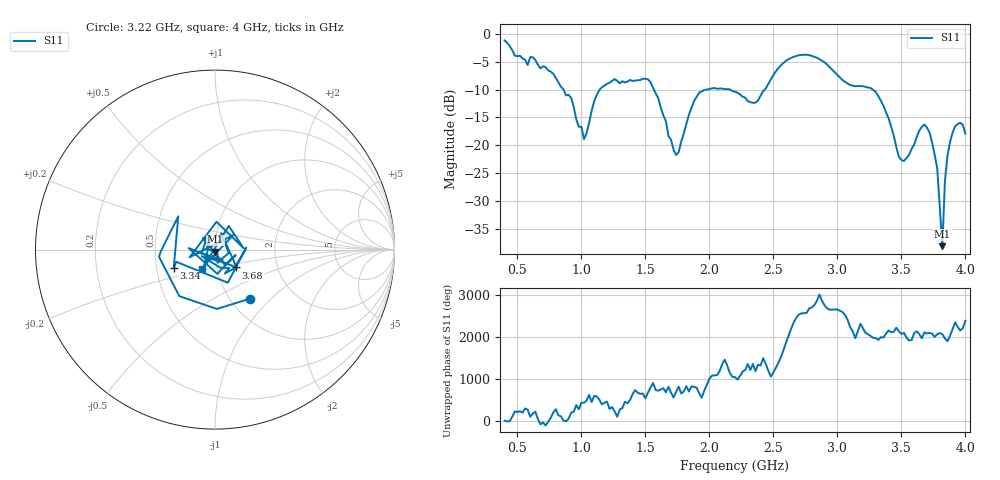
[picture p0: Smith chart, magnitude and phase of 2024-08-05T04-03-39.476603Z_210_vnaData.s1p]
!Created with skrf (http://scikit-rf.org).
# Hz S RI R 50.0
!freq ReS11 ImS11
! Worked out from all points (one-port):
!   181 points, 400 MHz to 4 GHz, reference 50 ohm
!   lowest |S11| = -38.1 dB at 3.82 GHz (marker M1), VSWR 1.03, Z = 50.1 - j1.24 ohm
!   |S11| at or under -10 dB: 861.1 MHz to 1.143 GHz (281.7 MHz wide, 28.1 % of centre); 1.567 GHz to 1.975 GHz (408.3 MHz wide, 23.1 % of centre); 3.277 GHz to end of sweep (the widest 3 of 4)
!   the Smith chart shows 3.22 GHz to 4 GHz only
!   S11 on the Smith chart (normalised r, x): 3.22 GHz: 1.22, -0.76; 3.34 GHz: 0.62, -0.13; 3.68 GHz: 1.24, -0.25; 4 GHz: 0.85, -0.18
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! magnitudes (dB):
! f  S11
! 400 MHz  -1.2
! 860 MHz  -9.9
! 920 MHz  -11.5
! 1.02 GHz  -18.9
! 1.14 GHz  -10.1
! 1.3 GHz  -8.9
! 1.54 GHz  -8.7
! 1.72 GHz  -20.8
! 1.76 GHz  -21.2
! 1.84 GHz  -14.5
! 1.92 GHz  -10.5
! 2.2 GHz  -10.4
! 2.36 GHz  -12.3
! 2.66 GHz  -4.1
! 2.86 GHz  -4.5
! 3.1 GHz  -9.2
! 3.22 GHz  -9.5
! 3.34 GHz  -12.0
! 3.48 GHz  -22.1
! 3.56 GHz  -21.7
! 3.68 GHz  -16.3
! 3.72 GHz  -17.7
! 3.78 GHz  -24.2
! 3.82 GHz  -38.1
! 3.84 GHz  -26.4
! 3.88 GHz  -19.4
! 3.94 GHz  -16.2
! 4 GHz  -17.9
